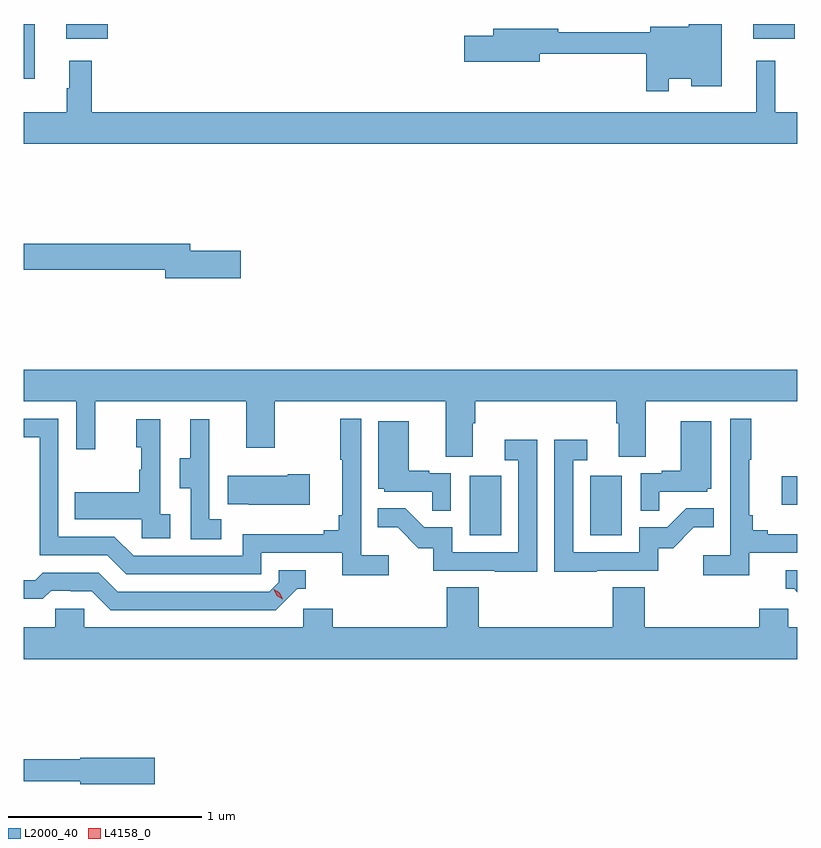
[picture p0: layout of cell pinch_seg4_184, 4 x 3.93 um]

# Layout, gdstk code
import gdstk
lib = gdstk.Library(unit=1e-6, precision=1e-09)
def R(c, l, rs):  # rectangles x0, y0, x1, y1
    for r in rs: c.add(gdstk.rectangle(r[:2], r[2:], *l))
def P(c, l, *ps):  # polygons
    for p in ps: c.add(gdstk.Polygon(p, *l))
L2000_40 = (2000, 40)
L4158_0 = (4158, 0)

pinch_seg4_184 = lib.new_cell('pinch_seg4_184')
R(pinch_seg4_184, L2000_40, [(1109.306,805.452,1109.47,805.759), (1109.93,805.452,1110.094,805.759), (1110.921,805.61,1111.001,805.758), (1107.001,807.812,1107.058,808.095), (1107.221,808.019,1107.436,808.095), (1110.773,808.019,1110.988,808.095)])
P(pinch_seg4_184, L2000_40, [(1110.336,807.812),(1110.452,807.812),(1110.452,807.773),(1110.61,807.773),(1110.61,808.095),(1110.44,808.095),(1110.44,808.081),(1110.239,808.081),(1110.239,808.052),(1109.764,808.052),(1109.764,808.07),(1109.429,808.07),(1109.429,808.034),(1109.28,808.034),(1109.28,807.899),(1109.668,807.899),(1109.668,807.942),(1110.22,807.942),(1110.22,807.747),(1110.336,807.747)],
  [(1111.001,807.64),(1110.887,807.64),(1110.887,807.904),(1110.788,807.904),(1110.788,807.64),(1107.353,807.64),(1107.353,807.904),(1107.236,807.904),(1107.236,807.764),(1107.225,807.764),(1107.225,807.64),(1107.001,807.64),(1107.001,807.476),(1111.001,807.476)],
  [(1108.123,806.924),(1107.862,806.924),(1107.862,806.96),(1107.001,806.96),(1107.001,806.824),(1107.734,806.824),(1107.734,806.782),(1108.123,806.782)],
  [(1109.323,806.032),(1109.336,806.032),(1109.336,806.144),(1110.065,806.144),(1110.065,806.032),(1110.077,806.032),(1110.077,805.858),(1110.217,805.858),(1110.217,806.144),(1111.001,806.144),(1111.001,806.308),(1107.001,806.308),(1107.001,806.144),(1107.273,806.144),(1107.273,805.896),(1107.371,805.896),(1107.371,806.144),(1108.151,806.144),(1108.151,805.905),(1108.299,805.905),(1108.299,806.144),(1109.183,806.144),(1109.183,805.858),(1109.323,805.858)],
  [(1110.752,805.362),(1111.001,805.362),(1111.001,805.459),(1110.847,805.459),(1110.847,805.478),(1110.77,805.478),(1110.77,805.555),(1110.751,805.555),(1110.751,805.843),(1110.763,805.843),(1110.763,806.056),(1110.654,806.056),(1110.654,805.348),(1110.513,805.348),(1110.513,805.246),(1110.752,805.246)],
  [(1108.888,805.348),(1108.746,805.348),(1108.746,806.056),(1108.638,806.056),(1108.638,805.843),(1108.649,805.843),(1108.649,805.555),(1108.63,805.555),(1108.63,805.478),(1108.553,805.478),(1108.553,805.459),(1108.134,805.459),(1108.134,805.347),(1107.57,805.347),(1107.471,805.446),(1107.18,805.446),(1107.18,806.055),(1107.001,806.055),(1107.001,805.959),(1107.084,805.959),(1107.084,805.35),(1107.434,805.35),(1107.533,805.251),(1108.23,805.251),(1108.23,805.362),(1108.649,805.362),(1108.649,805.246),(1108.888,805.246)],
  [(1108.024,805.535),(1107.96,805.535),(1107.96,805.839),(1107.962,805.839),(1107.962,806.053),(1107.863,806.053),(1107.863,805.851),(1107.809,805.851),(1107.809,805.696),(1107.864,805.696),(1107.864,805.432),(1108.024,805.432)],
  [(1107.76,805.562),(1107.708,805.562),(1107.708,806.053),(1107.584,806.053),(1107.584,805.908),(1107.61,805.908),(1107.61,805.79),(1107.6,805.79),(1107.6,805.675),(1107.265,805.675),(1107.265,805.535),(1107.612,805.535),(1107.612,805.437),(1107.76,805.437)],
  [(1109.208,805.773),(1109.097,805.773),(1109.097,805.786),(1108.993,805.786),(1108.993,806.041),(1108.835,806.041),(1108.835,805.692),(1108.866,805.692),(1108.866,805.677),(1109.113,805.677),(1109.113,805.579),(1109.208,805.579)],
  [(1110.287,805.677),(1110.534,805.677),(1110.534,805.692),(1110.556,805.692),(1110.556,806.041),(1110.398,806.041),(1110.398,805.786),(1110.299,805.786),(1110.299,805.773),(1110.192,805.773),(1110.192,805.579),(1110.287,805.579)],
  [(1109.963,805.269),(1110.282,805.269),(1110.282,805.386),(1110.358,805.386),(1110.465,805.493),(1110.569,805.493),(1110.569,805.592),(1110.425,805.592),(1110.327,805.494),(1110.183,805.494),(1110.183,805.365),(1109.841,805.365),(1109.841,805.839),(1109.914,805.839),(1109.914,805.945),(1109.745,805.945),(1109.745,805.264),(1109.963,805.264)],
  [(1109.655,805.945),(1109.487,805.945),(1109.487,805.839),(1109.559,805.839),(1109.559,805.365),(1109.217,805.365),(1109.217,805.494),(1109.073,805.494),(1108.975,805.592),(1108.831,805.592),(1108.831,805.493),(1108.935,805.493),(1109.042,805.386),(1109.119,805.386),(1109.119,805.269),(1109.437,805.269),(1109.437,805.264),(1109.655,805.264)],
  [(1108.48,805.767),(1108.367,805.767),(1108.367,805.759),(1108.057,805.759),(1108.057,805.613),(1108.165,805.613),(1108.165,805.61),(1108.48,805.61)],
  [(1108.416,805.176),(1108.459,805.176),(1108.459,805.272),(1108.32,805.272),(1108.32,805.209),(1108.272,805.161),(1107.489,805.161),(1107.39,805.26),(1107.101,805.26),(1107.062,805.221),(1107.001,805.221),(1107.001,805.125),(1107.101,805.125),(1107.143,805.167),(1107.246,805.167),(1107.246,805.164),(1107.353,805.164),(1107.452,805.065),(1108.305,805.065)],
  [(1111.001,805.272),(1110.941,805.272),(1110.941,805.176),(1110.984,805.176),(1111.001,805.159)],
  [(1111.001,804.976),(1110.954,804.976),(1110.954,805.074),(1110.803,805.074),(1110.803,804.976),(1110.212,804.976),(1110.212,805.184),(1110.047,805.184),(1110.047,804.976),(1109.354,804.976),(1109.354,805.184),(1109.189,805.184),(1109.189,804.976),(1108.598,804.976),(1108.598,805.074),(1108.446,805.074),(1108.446,804.976),(1107.315,804.976),(1107.315,805.074),(1107.165,805.074),(1107.165,804.976),(1107.001,804.976),(1107.001,804.812),(1111.001,804.812)],
  [(1107.679,804.302),(1107.294,804.302),(1107.294,804.296),(1107.001,804.296),(1107.001,804.18),(1107.294,804.18),(1107.294,804.167),(1107.679,804.167)])
P(pinch_seg4_184, L4158_0, [(1108.342,805.122),(1108.311,805.141),(1108.295,805.174),(1108.295,805.174),(1108.295,805.174),(1108.326,805.155),(1108.342,805.122),(1108.342,805.122)])

lib.write_gds('pinch_seg4_184.gds')
